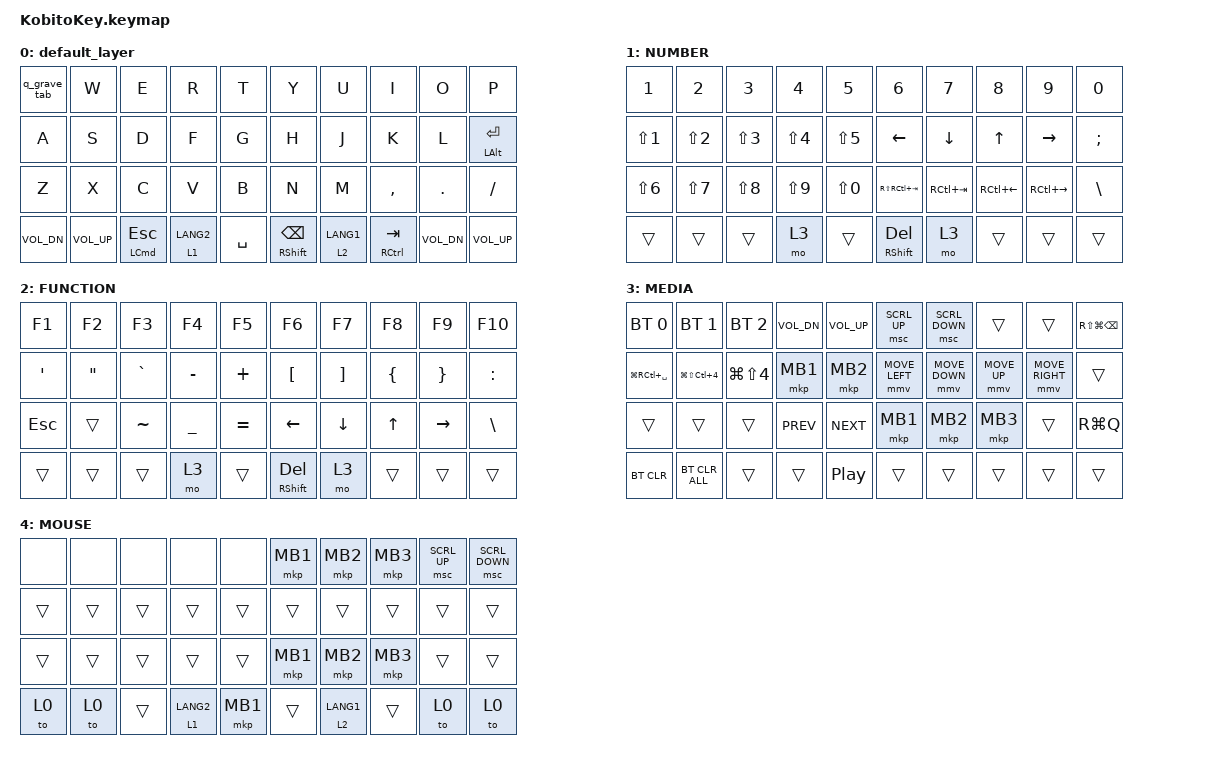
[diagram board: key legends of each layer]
#include <input/processors.dtsi>
#include <behaviors.dtsi>
#include <dt-bindings/zmk/bt.h>
#include <dt-bindings/zmk/keys.h>
#include <dt-bindings/zmk/modifiers.h>
#define ZMK_POINTING_DEFAULT_MOVE_VAL 3200
#define ZMK_POINTING_DEFAULT_SCRL_VAL 80
#include <dt-bindings/zmk/pointing.h>

/ {
    combos {
        compatible = "zmk,combos";
        combo_qqq {
            timeout-ms = <100>;
            key-positions = <1 1 1>;
            bindings = <&bt BT_CLR>;
        };
    };

    behaviors {
        /* Cmd+Q => Cmd+Grave */
        cmd_q_grave: cmd_q_grave {
            compatible = "zmk,behavior-mod-morph";
            #binding-cells = <0>;
            bindings = <&kp Q &kp GRAVE>;
            mods = <(MOD_LGUI)>;
            keep-mods = <(MOD_LGUI)>;
        };
        /* Ctrl+Q => Ctrl+Tab */
        q_grave_tab: q_grave_tab {
            compatible = "zmk,behavior-mod-morph";
            #binding-cells = <0>;
            bindings = <&cmd_q_grave &kp TAB>;
            mods = <(MOD_RCTL)>;
            keep-mods = <(MOD_RCTL)>;
        };
        lt_150: lt_150 {
            compatible = "zmk,behavior-hold-tap";
            #binding-cells = <2>;
            flavor = "balanced";
            tapping-term-ms = <150>;
            bindings = <&mo>, <&kp>;
        };
    };

    keymap {
        compatible = "zmk,keymap";

        default_layer {
            bindings = <
&q_grave_tab &kp W        &kp E        &kp R            &kp T        &kp Y            &kp U           &kp I         &kp O        &kp P
&kp A        &kp S        &kp D        &kp F            &kp G        &kp H            &kp J           &kp K         &kp L        &mt LALT ENTER
&kp Z        &kp X        &kp C        &kp V            &kp B        &kp N            &kp M           &kp COMMA     &kp DOT      &kp SLASH
&kp K_VOL_DN &kp K_VOL_UP &mt LCMD ESC &lt_150 1 LANG2  &kp SPACE    &mt RSHIFT BSPC  &lt_150 2 LANG1 &mt RCTRL TAB &kp K_VOL_DN &kp K_VOL_UP
            >;
        };

        layer1 {
            label = "NUMBER";
            bindings = <
&kp N1     &kp N2     &kp N3     &kp N4     &kp N5        &kp N6          &kp N7      &kp N8       &kp N9        &kp N0
&kp LS(N1) &kp LS(N2) &kp LS(N3) &kp LS(N4) &kp LS(N5)    &kp LEFT        &kp DOWN    &kp UP       &kp RIGHT     &kp SEMI
&kp LS(N6) &kp LS(N7) &kp LS(N8) &kp LS(N9) &kp LS(N0)    &kp RS(RC(TAB)) &kp RC(TAB) &kp RC(LEFT) &kp RC(RIGHT) &kp BSLH
&trans     &trans     &trans     &mo 3      &trans        &mt RSHIFT DEL  &mo 3       &trans       &trans        &trans
            >;
        };

        layer2 {
            label = "FUNCTION";
            bindings = <
&kp F1  &kp F2  &kp F3    &kp F4    &kp F5       &kp F6         &kp F7   &kp F8   &kp F9    &kp F10
&kp SQT &kp DQT &kp GRAVE &kp MINUS &kp PLUS     &kp LBKT       &kp RBKT &kp LBRC &kp RBRC  &kp COLON
&kp ESC &trans  &kp TILDE &kp UNDER &kp EQUAL    &kp LEFT       &kp DOWN &kp UP   &kp RIGHT &kp BSLH
&trans  &trans  &trans    &mo 3     &trans       &mt RSHIFT DEL &mo 3    &trans   &trans    &trans
            >;
        };

        layer3 {
            label = "MEDIA";
            bindings = <
&bt BT_SEL 0      &bt BT_SEL 1       &bt BT_SEL 2   &kp K_VOL_DN &kp K_VOL_UP    &msc SCRL_UP   &msc SCRL_DOWN &trans       &trans          &kp RS(LG(BSPC))
&kp LG(RC(SPACE)) &kp LG(LS(LC(N4))) &kp LG(LS(N4)) &mkp MB1     &mkp MB2        &mmv MOVE_LEFT &mmv MOVE_DOWN &mmv MOVE_UP &mmv MOVE_RIGHT &trans
&trans            &trans             &trans         &kp C_PREV   &kp C_NEXT      &mkp MB1       &mkp MB2       &mkp MB3     &trans          &kp RG(Q)
&bt BT_CLR        &bt BT_CLR_ALL     &trans         &trans       &kp C_PP        &trans         &trans         &trans       &trans          &trans
            >;
        };

        layer4 {
            label = "MOUSE";
            bindings = <
&none  &none  &none  &none           &none        &mkp MB1 &mkp MB2        &mkp MB3 &msc SCRL_UP &msc SCRL_DOWN
&trans &trans &trans &trans          &trans       &trans   &trans          &trans   &trans       &trans
&trans &trans &trans &trans          &trans       &mkp MB1 &mkp MB2        &mkp MB3 &trans       &trans
&to 0  &to 0  &trans &lt_150 1 LANG2 &mkp MB1     &trans   &lt_150 2 LANG1 &trans   &to 0        &to 0
            >;
        };
    };
};

&lt {
    tapping-term-ms = <200>;
    flavor = "balanced";
};

&mt {
    tapping-term-ms = <200>;
    quick-tap-ms = <200>;
};
